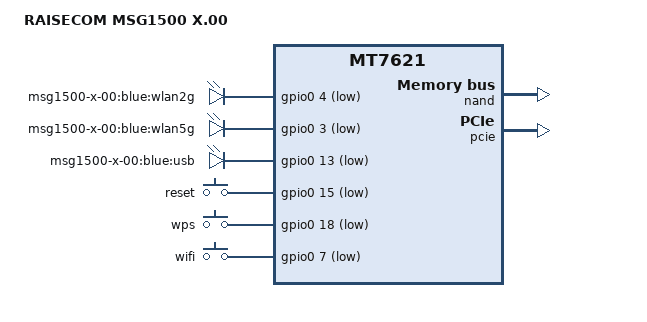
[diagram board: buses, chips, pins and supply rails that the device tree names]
/dts-v1/;

#include "mt7621.dtsi"

#include <dt-bindings/gpio/gpio.h>
#include <dt-bindings/input/input.h>

/ {
	compatible = "raisecom,msg1500-x-00", "mediatek,mt7621-soc";
	model = "RAISECOM MSG1500 X.00";

	aliases {
		led-boot = &led_usb;
		led-failsafe = &led_usb;
		led-upgrade = &led_usb;
	};

	chosen {
		bootargs = "console=ttyS0,115200";
	};
	
	leds {
		compatible = "gpio-leds";

		wlan2g {
			label = "msg1500-x-00:blue:wlan2g";
			gpios = <&gpio0 4 GPIO_ACTIVE_LOW>;
			linux,default-trigger = "phy0radio";
		};

		wlan5g {
			label = "msg1500-x-00:blue:wlan5g";
			gpios = <&gpio0 3 GPIO_ACTIVE_LOW>;
			linux,default-trigger = "phy1radio";
		};

		led_usb: usb {
			label = "msg1500-x-00:blue:usb";
			gpios = <&gpio0 13 GPIO_ACTIVE_LOW>;
			trigger-sources = <&ehci_port2>;
			linux,default-trigger = "usbport";
		};
	};

	keys {
		compatible = "gpio-keys";

		reset {
			label = "reset";
			gpios = <&gpio0 15 GPIO_ACTIVE_LOW>;
			linux,code = <KEY_RESTART>;
		};

		wps {
			label = "wps";
			gpios = <&gpio0 18 GPIO_ACTIVE_LOW>;
			linux,code = <KEY_WPS_BUTTON>;
		};

		wifi {
			label = "wifi";
			gpios = <&gpio0 7 GPIO_ACTIVE_LOW>;
			linux,code = <KEY_RFKILL>;
		};
	};
};

&nand {
	status = "okay";

	partitions {
		compatible = "fixed-partitions";
		#address-cells = <1>;
		#size-cells = <1>;

		partition@0 {
			label = "Bootloader";
			reg = <0x0 0x80000>;
			read-only;
		};

		partition@80000 {
			label = "Config";
			reg = <0x80000 0x80000>;
			read-only;
		};

		factory: partition@100000 {
			label = "Factory";
			reg = <0x100000 0x40000>;
			read-only;
		};

		partition@140000 {
			label = "kernel";
			reg = <0x140000 0x400000>;
		};

		partition@540000 {
			label = "ubi";
			reg = <0x540000 0x7a40000>;
		};
	};
};

&pcie {
	status = "okay";
};

&pcie0 {
	mt76@0,0 {
		reg = <0x0000 0 0 0 0>;
		mediatek,mtd-eeprom = <&factory 0x0000>;
	};
};

&state_default {
	    gpio {
		       ralink,group = "i2c", "jtag", "uart3", "wdt";
		       ralink,function = "gpio";
		};
};
